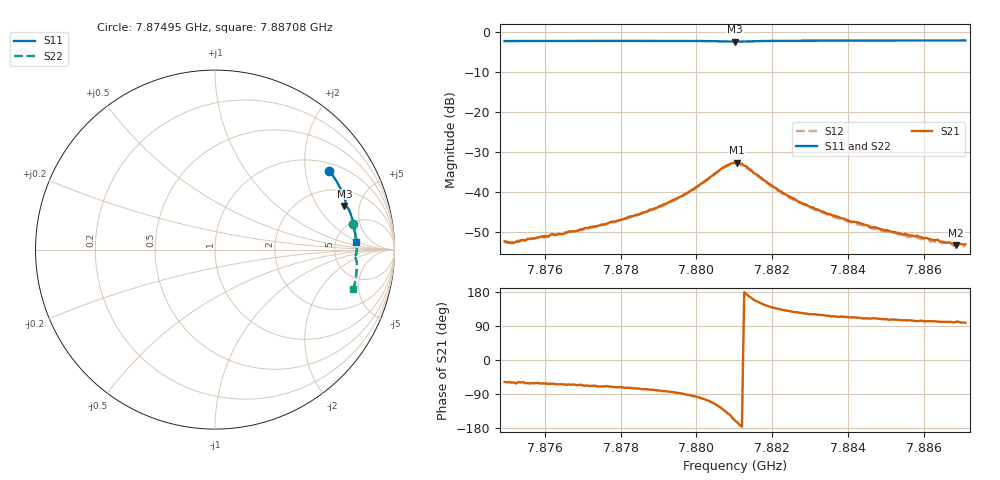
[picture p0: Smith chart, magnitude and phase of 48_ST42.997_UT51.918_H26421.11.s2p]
#  HZ  S  DB  R  50.00
! Rohde & Schwarz Vector Network Analyzer
! Rohde-Schwarz,ZNB20-2Port,1311601062101988,3.16
! Created: UTC 1/12/2023, 6:32:42 PM
! freq[Hz]  db:S11  ang:S11  db:S21  ang:S21  db:S12  ang:S12  db:S22  ang:S22
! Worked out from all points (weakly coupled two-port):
!   201 points, 7.87495 GHz to 7.88708 GHz, reference 50 ohm
!   highest |S21| = -32.57 dB at 7.88107 GHz (marker M1); lowest = -53.2 dB at 7.88684 GHz (marker M2)
!   lowest |S11| = -2.4 dB at 7.88101 GHz (marker M3), VSWR 7.35, Z = 153 + j177 ohm
!   |S11| at or under -10 dB: nowhere
!   |S22| runs from -2.3 to -1.9 dB; largest |S21 - S12| = 0.0019
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7.874949e9  -2.22 34.7  -52.23 -57.9  -52.68 -63.2  -2.14 10.7
7.875192e9  -2.22 34.0  -52.63 -59.2  -52.25 -62.5  -2.13 10.1
7.877011e9  -2.19 29.1  -49.20 -67.3  -49.40 -70.2  -2.08 5.8
7.87786e9  -2.18 26.7  -47.33 -71.5  -47.43 -74.7  -2.06 3.8
7.879013e9  -2.17 23.5  -43.52 -80.3  -43.77 -84.7  -2.04 1.1
7.879741e9  -2.18 21.4  -40.24 -91.8  -40.37 -94.5  -2.05 -0.7
7.880711e9  -2.32 18.8  -33.75 -131.3  -33.94 -134.5  -2.19 -3.0
7.881014e9  -2.38 18.7  -32.64 -159.8  -32.91 -162.2  -2.25 -3.0
7.881075e9  -2.37 18.7  -32.57 -165.1  -32.93 -168.3  -2.25 -2.9
7.881378e9  -2.30 18.4  -34.09 168.3  -34.24 164.9  -2.18 -3.0
7.882288e9  -2.16 16.0  -40.24 131.9  -40.40 127.9  -2.02 -5.0
7.883076e9  -2.12 13.7  -43.82 120.6  -44.08 117.4  -1.98 -6.9
7.883683e9  -2.11 12.1  -45.99 114.6  -46.47 112.1  -1.96 -8.3
7.884593e9  -2.10 9.6  -48.75 109.3  -48.91 106.7  -1.95 -10.4
7.885078e9  -2.09 8.4  -49.71 105.6  -49.87 103.1  -1.93 -11.5
7.885563e9  -2.09 7.1  -50.64 104.4  -51.20 101.5  -1.93 -12.5
7.886352e9  -2.08 5.0  -51.82 100.9  -52.34 97.3  -1.93 -14.2
7.886412e9  -2.08 4.9  -52.37 100.7  -52.36 98.2  -1.93 -14.3
7.886655e9  -2.08 4.2  -52.47 100.3  -52.63 97.6  -1.92 -14.9
7.886776e9  -2.08 3.9  -52.97 99.0  -53.37 97.7  -1.92 -15.1
7.886837e9  -2.08 3.7  -53.18 101.0  -53.24 97.9  -1.92 -15.2
7.88708e9  -2.07 3.1  -52.94 98.0  -53.40 95.6  -1.92 -15.8
